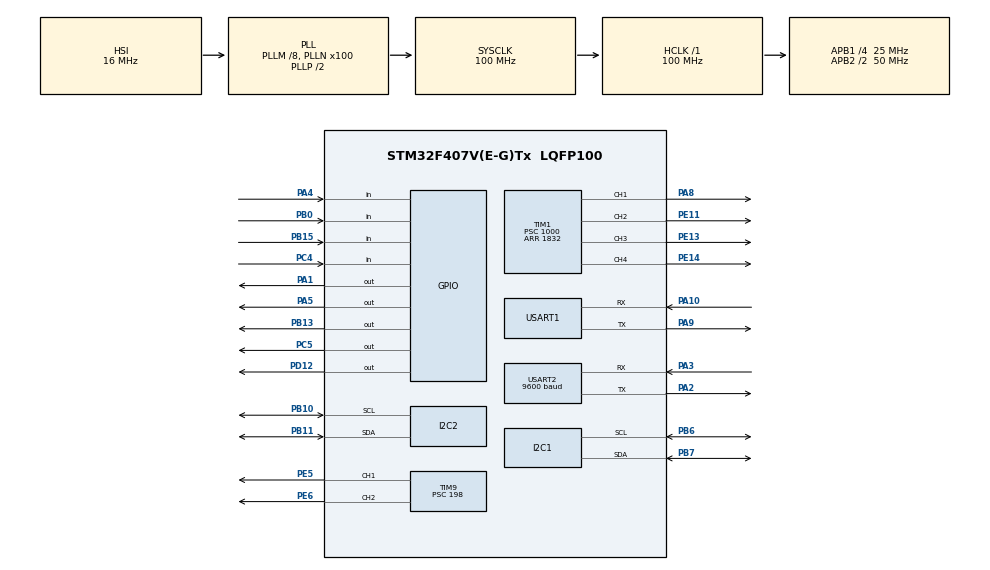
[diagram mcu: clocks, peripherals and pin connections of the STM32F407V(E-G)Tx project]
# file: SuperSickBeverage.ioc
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Mcu.Family=STM32F4
Mcu.Name=STM32F407V(E-G)Tx
Mcu.Package=LQFP100
NVIC.PriorityGroup=NVIC_PRIORITYGROUP_4
NVIC.TIM1_TRG_COM_TIM11_IRQn=true\:5\:0\:true\:false\:true\:true
NVIC.TIM1_UP_TIM10_IRQn=true\:3\:0\:true\:false\:true\:true
NVIC.USART1_IRQn=true\:1\:0\:true\:false\:true\:true
NVIC.USART2_IRQn=true\:2\:0\:true\:false\:true\:true
PA1.Signal=GPIO_Output
PA10.Mode=Asynchronous
PA10.Signal=USART1_RX
PA13.Mode=Serial_Wire
PA13.Signal=SYS_JTMS-SWDIO
PA14.Mode=Serial_Wire
PA14.Signal=SYS_JTCK-SWCLK
PA2.Mode=Asynchronous
PA2.Signal=USART2_TX
PA3.Mode=Asynchronous
PA3.Signal=USART2_RX
PA4.Signal=GPIO_Input
PA5.Signal=GPIO_Output
PA8.Signal=S_TIM1_CH1
PA9.Mode=Asynchronous
PA9.Signal=USART1_TX
PB0.GPIO_Mode=GPIO_MODE_INPUT
PB0.GPIO_PuPd=GPIO_NOPULL
PB0.Signal=GPIO_Input
PB10.Mode=I2C
PB10.Signal=I2C2_SCL
PB11.Mode=I2C
PB11.Signal=I2C2_SDA
PB13.Signal=GPIO_Output
PB15.Signal=GPIO_Input
PB6.Mode=I2C
PB6.Signal=I2C1_SCL
PB7.Mode=I2C
PB7.Signal=I2C1_SDA
PC4.Signal=GPIO_Input
PC5.Signal=GPIO_Output
PD12.Signal=GPIO_Output
PE11.Signal=S_TIM1_CH2
PE13.Signal=S_TIM1_CH3
PE14.Signal=S_TIM1_CH4
PE5.Signal=S_TIM9_CH1
PE6.Signal=S_TIM9_CH2
ProjectManager.HeapSize=0x200
ProjectManager.StackSize=0x400
ProjectManager.TargetToolchain=SW4STM32
RCC.48MHZClocksFreq_Value=28571428.57142857
RCC.AHBFreq_Value=100000000
RCC.APB1CLKDivider=RCC_HCLK_DIV4
RCC.APB1Freq_Value=25000000
RCC.APB1TimFreq_Value=50000000
RCC.APB2CLKDivider=RCC_HCLK_DIV2
RCC.APB2Freq_Value=50000000
RCC.APB2TimFreq_Value=100000000
RCC.CortexFreq_Value=100000000
RCC.HCLKFreq_Value=100000000
RCC.HSE_VALUE=8000000
RCC.HSI_VALUE=16000000
RCC.LSE_VALUE=32768
RCC.PLLM=8
RCC.PLLN=100
RCC.PLLQ=7
RCC.SYSCLKFreq_VALUE=100000000
RCC.SYSCLKSource=RCC_SYSCLKSOURCE_PLLCLK
RCC.VCOOutputFreq_Value=200000000
SH.S_TIM1_CH1.0=TIM1_CH1,PWM Generation1 CH1
SH.S_TIM1_CH2.0=TIM1_CH2,PWM Generation2 CH2
SH.S_TIM1_CH3.0=TIM1_CH3,PWM Generation3 CH3
SH.S_TIM1_CH4.0=TIM1_CH4,PWM Generation4 CH4
SH.S_TIM9_CH1.0=TIM9_CH1,PWM Generation1 CH1
SH.S_TIM9_CH2.0=TIM9_CH2,PWM Generation2 CH2
TIM1.Channel-PWM\ Generation1\ CH1=TIM_CHANNEL_1
TIM1.Channel-PWM\ Generation2\ CH2=TIM_CHANNEL_2
TIM1.Channel-PWM\ Generation3\ CH3=TIM_CHANNEL_3
TIM1.Channel-PWM\ Generation4\ CH4=TIM_CHANNEL_4
TIM1.Period=1832
TIM1.Prescaler=1000
TIM1.Pulse-PWM\ Generation1\ CH1=0
TIM10.Channel=TIM_CHANNEL_1
TIM10.Period=1
TIM10.Prescaler=5000
TIM9.Channel-PWM\ Generation1\ CH1=TIM_CHANNEL_1
TIM9.Channel-PWM\ Generation2\ CH2=TIM_CHANNEL_2
TIM9.Period=5000
TIM9.Prescaler=198
USART1.VirtualMode=VM_ASYNC
USART2.BaudRate=9600
USART2.VirtualMode=VM_ASYNC
VP_TIM10_VS_ClockSourceINT.Mode=Enable_Timer
VP_TIM10_VS_no_output1.Mode=Output Compare1 No Output
VP_TIM1_VS_ClockSourceINT.Mode=Internal
board=STM32F4DISCOVERY

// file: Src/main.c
/**
  ******************************************************************************
  * @file           : main.c
  * @brief          : Main program body
  ******************************************************************************
  ** This notice applies to any and all portions of this file
  * that are not between comment pairs USER CODE BEGIN and
  * USER CODE END. Other portions of this file, whether
  * inserted by the user or by software development tools
  * are owned by their respective copyright owners.
  *
  * COPYRIGHT(c) 2018 STMicroelectronics
  *
  * Redistribution and use in source and binary forms, with or without modification,
  * are permitted provided that the following conditions are met:
  *   1. Redistributions of source code must retain the above copyright notice,
  *      this list of conditions and the following disclaimer.
  *   2. Redistributions in binary form must reproduce the above copyright notice,
  *      this list of conditions and the following disclaimer in the documentation
  *      and/or other materials provided with the distribution.
  *   3. Neither the name of STMicroelectronics nor the names of its contributors
  *      may be used to endorse or promote products derived from this software
  *      without specific prior written permission.
  *
  * THIS SOFTWARE IS PROVIDED BY THE COPYRIGHT HOLDERS AND CONTRIBUTORS "AS IS"
  * AND ANY EXPRESS OR IMPLIED WARRANTIES, INCLUDING, BUT NOT LIMITED TO, THE
  * IMPLIED WARRANTIES OF MERCHANTABILITY AND FITNESS FOR A PARTICULAR PURPOSE ARE
  * DISCLAIMED. IN NO EVENT SHALL THE COPYRIGHT HOLDER OR CONTRIBUTORS BE LIABLE
  * FOR ANY DIRECT, INDIRECT, INCIDENTAL, SPECIAL, EXEMPLARY, OR CONSEQUENTIAL
  * DAMAGES (INCLUDING, BUT NOT LIMITED TO, PROCUREMENT OF SUBSTITUTE GOODS OR
  * SERVICES; LOSS OF USE, DATA, OR PROFITS; OR BUSINESS INTERRUPTION) HOWEVER
  * CAUSED AND ON ANY THEORY OF LIABILITY, WHETHER IN CONTRACT, STRICT LIABILITY,
  * OR TORT (INCLUDING NEGLIGENCE OR OTHERWISE) ARISING IN ANY WAY OUT OF THE USE
  * OF THIS SOFTWARE, EVEN IF ADVISED OF THE POSSIBILITY OF SUCH DAMAGE.
  *
  ******************************************************************************
  */
#include "main.h"
#include "stm32f4xx_hal.h"

/* USER CODE BEGIN Includes */
#include <stdlib.h>
#include <string.h>
#include <stdio.h>
#include <math.h>

/* Private function prototypes -----------------------------------------------*/

/* USER CODE END PFP */

/* USER CODE END Includes */

I2C_HandleTypeDef hi2c1;
I2C_HandleTypeDef hi2c2;

TIM_HandleTypeDef htim1;
TIM_HandleTypeDef htim9;
TIM_HandleTypeDef htim10;

UART_HandleTypeDef huart1;
UART_HandleTypeDef huart2;

/* USER CODE BEGIN PV */
/* Private variables ---------------------------------------------------------*/
int fadeVal = 0;
int fadeVal2 = 0;
volatile int state = 0; //0 - Listening, 1 - Order Received, 2 - Drink Loaded, 3 - Destination Reached, 4 - Drop drink, 5 - Return
int timerVal = 0;
// Manual/Autonomous Variables
volatile int mode = 0; //0 - manual, 1 - autonomous
volatile int PeriodCount = 0;
volatile int OnCount = 0;
//GPS Variables
int Rx_indx;
int GPS_Transfer_cplt = 0;
uint8_t Rx_data;
char Rx_Buffer[80];
char GPS_Data[60];
char CoordinateType[6];	//Determine if the current data received is GPGGA, GPGSA, GPRMC, or GPVTG, we only need RMC and GGA
char latDegBuff[3]; // "XX\0"
char latMinBuff[8]; // "XX.XXXX\0"
char longDegBuff[4]; // "XX\0"
char longMinBuff[8]; // "XX.XXXX\0"
char altitudeBuff[6];

double startAltitude = 0;

int j = 0;
int k = 0;

//WiFi Variables
int WiFi_Transfer_cplt = 0;
uint8_t Rx1_data;
int Rx1_indx;
char Rx1_Buffer[40];
char targetLatDeg[3];
char targetLatMin[9];
char targetLongDeg[3];
char targetLongMin[9];
int order_received = 0;
int firstTransfer = 0;

unsigned long prevTimeLED;
unsigned long prevTimeLCD;
unsigned long prevTimeTransmit;
unsigned long currTime;

struct Latitude_data
{
	int degrees;
	double decimalMin;
	char orientation;
};

struct Longitude_data
{
	int degrees;
	double decimalMin;
	char orientation;
};

struct RMC_data {
	char fixStatus;
	struct Latitude_data Latitude;
    struct Longitude_data Longitude;
    double altitude;
} RMC;

struct WiFi_data {
	struct Latitude_data Latitude;
	struct Longitude_data Longitude;
	int orderCancelled;
	char drinkOrder[15];
} WiFi;

// UART Test Variables
char* bufftr = "Hello!\n\r";

/* USER CODE END PV */

void SystemClock_Config(void);
static void MX_GPIO_Init(void);
static void MX_I2C1_Init(void);
static void MX_TIM1_Init(void);
static void MX_USART1_UART_Init(void);
static void MX_USART2_UART_Init(void);
static void MX_I2C2_Init(void);
static void MX_TIM10_Init(void);
static void MX_TIM9_Init(void);

void HAL_TIM_MspPostInit(TIM_HandleTypeDef *htim);

/* USER CODE BEGIN PFP */
/* Private function prototypes -----------------------------------------------*/

//LCD Functions
void lcd_send_cmd (char);
void lcd_send_data (char);
void lcd_print (char*);
void lcd_init(void);
void lcd_clear(void);

void lcd_firstLine(void);
void lcd_secondLine(void);
void uselessFunction(void);
/* USER CODE END PFP */

/* USER CODE BEGIN 0 */

void HAL_UART_RxCpltCallback(UART_HandleTypeDef *huart)
{
    uint8_t i;
    uint8_t j;
    uint8_t k;

    //HAL_NVIC_DisableIRQ(TIM1_UP_TIM10_IRQn);

    if (huart->Instance == USART1)
	{
		if (Rx1_indx==0) {for (i=0;i<35;i++) Rx1_Buffer[i]=0;}   //clear Rx_Buffer before receiving new data

		if (Rx1_data != 13) //if received data different from ascii 13 (enter)
		{
			Rx1_Buffer[Rx1_indx++]=Rx1_data;    //add data to Rx_Buffer
		}
		else            //if received data = 13
		{
			Rx1_indx=0;

			WiFi_Transfer_cplt=1;//transfer complete, data is ready to read
		}

		HAL_UART_Receive_IT(&huart1, &Rx1_data, 1);   //activate UART receive interrupt every time
	}

    else if (huart->Instance == USART2)  //current UART
    {
        if (Rx_indx==0) {for (i=0;i<80;i++) Rx_Buffer[i]=0;}   //clear Rx_Buffer before receiving new data

        if (Rx_data != 10 && Rx_indx < 80) //if received data different from ascii 13 (enter)
        {
            Rx_Buffer[Rx_indx++]=Rx_data;    //add data to Rx_Buffer
        }
        else            //if received data = 13
        {
            Rx_indx=0;

            GPS_Transfer_cplt=1;//transfer complete, data is ready to read
        }

        HAL_UART_Receive_IT(&huart2, &Rx_data, 1);   //activate UART receive interrupt every time

    }

   // HAL_NVIC_EnableIRQ(TIM1_UP_TIM10_IRQn);
}

void HAL_TIM_PeriodElapsedCallback(TIM_HandleTypeDef *htim)
{
	// autonomous/manual select channel interpretation
	if (htim->Instance==TIM10)
	{
		//sample Manual/Autonomous toggle signal
		if(HAL_GPIO_ReadPin(GPIOC, GPIO_PIN_4) == 1){
			OnCount++;
		}
		//check if end of a period
		if(PeriodCount++ == 183){
			//Set Mux Select Line
			if(OnCount >= 14){
 				HAL_GPIO_WritePin(GPIOC, GPIO_PIN_5, GPIO_PIN_SET);
 				mode = 1;
			}
			else{
				HAL_GPIO_WritePin(GPIOC, GPIO_PIN_5, GPIO_PIN_RESET);
				mode = 0;
			}
			//Reset Counts
			PeriodCount = 0;
			OnCount = 0;
		}
	}
}

/* USER CODE END 0 */

int main(void)
{
  /* USER CODE BEGIN 1 */
  double StartLongitude = 0;
  double StartLatitude = 0;
  double TargetLongitude = 54.793;
  double TargetLatitude = 25.573;
  double CurrentLongitude = 0;
  double CurrentLatitude = 0;
  double WEdistance = 0;
  double NSdistance = 0;
  double speed = 0;
  char temp1[16] = "aaahhhh nooo!";
  char temp2[16] = "uninitialized";
  int StatePrint = 1;
  int toggle = 0;
  int counter = 0;
  int altitudeTime = 4;

  /* USER CODE END 1 */

  /* MCU Configuration----------------------------------------------------------*/

  /* Reset of all peripherals, Initializes the Flash interface and the Systick. */
  HAL_Init();

  /* Configure the system clock */
  SystemClock_Config();

  /* Initialize all configured peripherals */
  MX_GPIO_Init();
  MX_I2C1_Init();
  MX_TIM1_Init();
  MX_USART1_UART_Init();
  MX_USART2_UART_Init();
  MX_I2C2_Init();
  MX_TIM10_Init();
  MX_TIM9_Init();
  /* USER CODE BEGIN 2 */
  lcd_init();

  /* USER CODE END 2 */

  /* Infinite loop */
  /* USER CODE BEGIN WHILE */
  HAL_GPIO_WritePin(GPIOC, GPIO_PIN_5, GPIO_PIN_RESET);

  	  //HAL_Delay(500);
  	  // END OF TEST CODE

  RMC.altitude = 0;

  //Start PWM signals
  HAL_TIM_PWM_Start(&htim1, TIM_CHANNEL_1);
  HAL_TIM_PWM_Start(&htim1, TIM_CHANNEL_2);
  HAL_TIM_PWM_Start(&htim1, TIM_CHANNEL_3);
  HAL_TIM_PWM_Start(&htim1, TIM_CHANNEL_4);
  //HAL_TIM_PWM_Start(&htim2, TIM_CHANNEL_2);
  HAL_TIM_PWM_Start(&htim9, TIM_CHANNEL_1);
  HAL_TIM_PWM_Start(&htim9, TIM_CHANNEL_2);

  HAL_UART_Receive_IT(&huart1, &Rx1_data, 1);
  HAL_UART_Receive_IT(&huart2, &Rx_data, 1);

  HAL_TIM_Base_Start_IT(&htim10);

  HAL_NVIC_DisableIRQ(USART1_IRQn);
  HAL_NVIC_DisableIRQ(USART2_IRQn);
  HAL_NVIC_DisableIRQ(TIM1_UP_TIM10_IRQn);

  //claw initializations
  __HAL_TIM_SET_COMPARE(&htim9, TIM_CHANNEL_1, 700); //PE5
  __HAL_TIM_SET_COMPARE(&htim9, TIM_CHANNEL_2, 700); //PE6
  //FC initializations
  __HAL_TIM_SET_COMPARE(&htim1, TIM_CHANNEL_4, 150); //FC channel 1 (Aileron) pin PE 14
  __HAL_TIM_SET_COMPARE(&htim1, TIM_CHANNEL_3, 150); //FC channel 2 (Elevator) pin PE 13
  __HAL_TIM_SET_COMPARE(&htim1, TIM_CHANNEL_2, 150); //FC channel 3 (Throttle) pin PA 8
  __HAL_TIM_SET_COMPARE(&htim1, TIM_CHANNEL_1, 150); //FC channel 4 (Rudder) pin PE 11
  //__HAL_TIM_SET_COMPARE(&htim2, TIM_CHANNEL_2, 150); //FC channel 6 (IOC) pin PA 1

  HAL_NVIC_EnableIRQ(USART1_IRQn);
  HAL_NVIC_EnableIRQ(USART2_IRQn);
  HAL_NVIC_EnableIRQ(TIM1_UP_TIM10_IRQn);

  while (1)
  {
	  //GPS code
	 currTime = HAL_GetTick();

	  if (currTime - prevTimeLED >= 1000) {
		  counter += 1;
		  toggle = 1;
		  prevTimeLED = currTime;
		  HAL_GPIO_TogglePin(GPIOB, GPIO_PIN_13);
	  }

	  if (GPS_Transfer_cplt) {
		  GPS_Transfer_cplt = 0;

		  for (j=0;j<6;j++) {
			CoordinateType[j] = Rx_Buffer[j];
		  }

		  j++;

		  for (k=0;k<60;k++) {
			GPS_Data[k] = Rx_Buffer[j];
			j++;
		  }

		  if (strcmp(CoordinateType, "$GPRMC") == 0)
		  {
			  RMC.fixStatus = GPS_Data[11];

			  if (RMC.fixStatus != 'A') {
					//  lcd_clear();
					//  lcd_print("NO GPS FIX");
			  }
			  else {

				  //Latitude Degrees
				  memcpy(latDegBuff, &GPS_Data[13], 2);
				  latDegBuff[2] = '\0';
				  RMC.Latitude.degrees = atoi(latDegBuff);

				  //Latitude Decimal Minutes
				  memcpy(latMinBuff, &GPS_Data[15], 7);
				  latMinBuff[7] = '\0';
				  RMC.Latitude.decimalMin = atof(latMinBuff);

				  //Latitude Orientation
				  RMC.Latitude.orientation = GPS_Data[23];

				  //Longitude Degrees
				  memcpy(longDegBuff, &GPS_Data[25], 3);
				  latDegBuff[3] = '\0';
				  RMC.Longitude.degrees = atoi(longDegBuff);

				  //Longitude Decimal Minutes
				  memcpy(latMinBuff, &GPS_Data[28], 7);
				  latMinBuff[7] = '\0';
				  RMC.Longitude.decimalMin = atof(latMinBuff);

				  //Longitude Orientation
				  RMC.Longitude.orientation = GPS_Data[36];
			  }
		  }

		  else if (strcmp(CoordinateType, "$GPGGA") == 0)
		{
			int a = 46;
			int b = 0;

			if (RMC.fixStatus != 'A') {
//				lcd_clear();
//				lcd_print("NO GPS FIX");
			}
			else {

				while(GPS_Data[a] != ',' && (b < 6)) {
					altitudeBuff[b] = GPS_Data[a];
					a++;
					b++;
				}
				altitudeBuff[b] = '\0';

				RMC.altitude = atof(altitudeBuff);
			}
		}
	  }

	  if (WiFi_Transfer_cplt && state == 0)
	  {
		  WiFi_Transfer_cplt = 0;
		  //LATITUDE
		  if (Rx1_Buffer[0] == '+')
		  {
			  WiFi.Latitude.orientation = 'N';
			  WiFi.orderCancelled = 0;
		  }
		  else if (Rx1_Buffer[0] == '-')
		  {
			  WiFi.Latitude.orientation = 'S';
			  WiFi.orderCancelled = 0;
		  }
		  else
		  {
			  WiFi.orderCancelled = 1;
		  }

		  if (WiFi.orderCancelled == 0)
		  {
			  //Latitude Degrees
			  targetLatDeg[0] = Rx1_Buffer[1];
			  targetLatDeg[1] = Rx1_Buffer[2];
			  targetLatDeg[2] = '\0';

			  WiFi.Latitude.degrees = atoi(targetLatDeg);

			  //Latitude decimalMin

			  targetLatMin[0] = '0';
			  targetLatMin[1] = '.';
			  targetLatMin[2] = Rx1_Buffer[4];
			  targetLatMin[3] = Rx1_Buffer[5];
			  targetLatMin[4] = Rx1_Buffer[6];
			  targetLatMin[5] = Rx1_Buffer[7];
			  targetLatMin[6] = Rx1_Buffer[8];
			  targetLatMin[7] = Rx1_Buffer[9];
			  targetLatMin[8] = '\0';

			  WiFi.Latitude.decimalMin = atof(targetLatMin);

			  //LONGITUDE
			  if (Rx1_Buffer[12] == '+')
			  {
				WiFi.Longitude.orientation = 'E';
			  }
			  else if (Rx1_Buffer[12] == '-')
			  {
				WiFi.Longitude.orientation = 'W';
			  }

			  //Longitude Degrees
			  targetLongDeg[0] = Rx1_Buffer[13];
			  targetLongDeg[1] = Rx1_Buffer[14];
			  targetLongDeg[2] = '\0';

			  WiFi.Longitude.degrees = atoi(targetLongDeg);

			  //Longitude decimalMin
			  targetLongMin[0] = '0';
			  targetLongMin[1] = '.';
			  targetLongMin[2] = Rx1_Buffer[16];
			  targetLongMin[3] = Rx1_Buffer[17];
			  targetLongMin[4] = Rx1_Buffer[18];
			  targetLongMin[5] = Rx1_Buffer[19];
			  targetLongMin[6] = Rx1_Buffer[20];
			  targetLongMin[7] = Rx1_Buffer[21];
			  targetLongMin[8] = '\0';

			  WiFi.Longitude.decimalMin = atof(targetLongMin);

			  //DRINK ORDER
			  int a = 23;
			  int b = 0;

			  while (Rx1_Buffer[a] != ',')
			  {
				  WiFi.drinkOrder[b] = Rx1_Buffer[a];
				  a++;
				  b++;
			  }
			  WiFi.drinkOrder[b] = '\0';
			  order_received = 1;
		  }
	  }

  	  //Drone States code
	  switch(state){
	  case 0: //idle
		  if(StatePrint == 1){
			  StatePrint = 0;
			  lcd_clear();
			  //lcd_print("Waiting for New");
			  lcd_print("ALTITUDE TEST");
			  //lcd_secondLine();
			  //lcd_print("Drink Request");
		  }
		  if (HAL_GPIO_ReadPin(GPIOB, GPIO_PIN_15) == 0  && counter >= 2){
			//close claw
//			 __HAL_TIM_SET_COMPARE(&htim9, TIM_CHANNEL_2, 920);
//			 __HAL_TIM_SET_COMPARE(&htim9, TIM_CHANNEL_1, 480);
			startAltitude = RMC.altitude;
			StatePrint = 1;
			state = 9;
			counter = 0;
		  }
//		  if (order_received == 1) {
//			  StatePrint = 1;
//			  state = 1;
//			  counter = 0;
//		  }
		  break;
	  case 1: // order received
		  if(StatePrint == 1){
		  	StatePrint = 0;
		  	lcd_clear();
		  	lcd_print("Order Received!"); //also display which drink
		  	lcd_secondLine();
		  	lcd_print(WiFi.drinkOrder);	//Drink order!!
		  	//save target location
		  	TargetLongitude = WiFi.Longitude.decimalMin * 60;
		  	TargetLatitude = WiFi.Latitude.decimalMin * 60;
		 }
		 if (HAL_GPIO_ReadPin(GPIOB, GPIO_PIN_15) == 0  && counter >= 2){
			//close claw
			 __HAL_TIM_SET_COMPARE(&htim9, TIM_CHANNEL_2, 920);
			 __HAL_TIM_SET_COMPARE(&htim9, TIM_CHANNEL_1, 480);
			StatePrint = 1;
		   	state = 2;
		   	counter = 0;
		  }
		  break;
	  case 2: //order complete
		  if(StatePrint == 1 && counter >= 1){

			sprintf(temp1, "%d", (int) TargetLongitude);
			sprintf(temp2, "%d", (int) TargetLatitude);
		  	StatePrint = 0;
		  	lcd_clear();
		  	lcd_print("Payload Loaded!"); //Payload loaded!
		  	lcd_secondLine();
		  	lcd_print("Position & Start"); //Position & Start
		  }
		  //start ascent if mode is autonomous
		  if(mode == 1){
			  counter = 0;
			  StatePrint = 1;
			  state = 3;
		  }
		  break;
	  case 3: //ascend
		  if(StatePrint == 1){
			  StatePrint = 0;
		  	  lcd_clear();
		  	  lcd_print("2 infinity &&");
		  	  lcd_secondLine();
		  	  lcd_print("Beyond!");
		  }
		  //save start location
		  StartLongitude = RMC.Longitude.decimalMin;
		  StartLatitude = RMC.Latitude.decimalMin;
		  if(counter < altitudeTime){
			  __HAL_TIM_SET_COMPARE(&htim1, TIM_CHANNEL_2, 170); //FC channel 3 (Throttle) pin PA 8
		  }
		  else if(counter < altitudeTime + 3){
			  __HAL_TIM_SET_COMPARE(&htim1, TIM_CHANNEL_2, 150); //FC channel 3 (Throttle) pin PA 8
		  }
		  else{
			  counter = 0;
			  StatePrint = 1;
			  state = 4;
		  }
		  break;
	  case 4: //go to target
		  CurrentLongitude = RMC.Longitude.decimalMin;
		  CurrentLatitude = RMC.Latitude.decimalMin;
		  //set speed
		  if(CurrentLongitude >= TargetLongitude - 0.015 && CurrentLongitude <= TargetLongitude + 0.015 && CurrentLatitude >= TargetLatitude - 0.015 && CurrentLatitude <= TargetLatitude + 0.015){
			  speed = 0.5;
		  }
		  else{
			  speed = 1;
		  }
		  //calculate directional input to target location
		  if(!(CurrentLongitude >= TargetLongitude - 0.0025 && CurrentLongitude <= TargetLongitude + 0.0025 && CurrentLatitude >= TargetLatitude - 0.0025 && CurrentLatitude <= TargetLatitude + 0.0025)){
			  WEdistance = TargetLongitude - CurrentLongitude;
			  NSdistance = TargetLatitude - CurrentLatitude;
			  if(NSdistance >= -0.0025 && NSdistance <= 0.0025 && WEdistance > 0){ //W
				  __HAL_TIM_SET_COMPARE(&htim1, TIM_CHANNEL_3, 150); //FC channel 2
				  __HAL_TIM_SET_COMPARE(&htim1, TIM_CHANNEL_4, (int)(150 - 20 * speed)); //FC channel 1
				  sprintf(temp1, "%d", 150);
				  sprintf(temp2, "%d", (int)(150 - 20 * speed));
			  }
			  else if(NSdistance >= -0.0025 && NSdistance <= 0.0025 && WEdistance < 0){ //E
				  __HAL_TIM_SET_COMPARE(&htim1, TIM_CHANNEL_3, 150); //FC channel 2
				  __HAL_TIM_SET_COMPARE(&htim1, TIM_CHANNEL_4, (int)(150 + 20 * speed)); //FC channel 1
				  sprintf(temp1, "%d", 150);
				  sprintf(temp2, "%d", (int)(150 + 20 * speed));
			  }
			  else if(NSdistance > 0 && WEdistance >= -0.0025 && WEdistance <= 0.0025){ //N
				  __HAL_TIM_SET_COMPARE(&htim1, TIM_CHANNEL_3, (int)(150 + 20 * speed)); //FC channel 2
				  __HAL_TIM_SET_COMPARE(&htim1, TIM_CHANNEL_4, 150); //FC channel 1
				  sprintf(temp1, "%d", (int) 150);
				  sprintf(temp2, "%d", 150);

			  }
			  else if(NSdistance < 0 && WEdistance >= -0.0025 && WEdistance <= 0.0025){ //S
				  __HAL_TIM_SET_COMPARE(&htim1, TIM_CHANNEL_3, (int)(150 - 20 * speed)); //FC channel 2
				  __HAL_TIM_SET_COMPARE(&htim1, TIM_CHANNEL_4, 150); //FC channel 1
				  sprintf(temp1, "%d", (int)(150 - 20 * speed));
				  sprintf(temp2, "%d", 150);
			  }
			  else if(NSdistance > 0 && WEdistance > 0){ //NW Quadrant
				  if(NSdistance > WEdistance){ //NS is larger
					  __HAL_TIM_SET_COMPARE(&htim1, TIM_CHANNEL_3, (int)(150 + 20 * speed)); //FC channel 2 set North
					  __HAL_TIM_SET_COMPARE(&htim1, TIM_CHANNEL_4, (int)(150 - 20 * speed * WEdistance / NSdistance)); //FC channel 1 set West
					  sprintf(temp1, "%d", (int)(150 + 20 * speed));
					  sprintf(temp2, "%d", (int)(150 - 20 * speed * WEdistance / NSdistance));
				  }
				  else{ //WE is larger
					  __HAL_TIM_SET_COMPARE(&htim1, TIM_CHANNEL_3, (int)(150 + 20 * speed * NSdistance / WEdistance)); //FC channel 1 set North
					  __HAL_TIM_SET_COMPARE(&htim1, TIM_CHANNEL_4, (int)(150 - 20 * speed)); //FC channel 1 set West
					  sprintf(temp1, "%d", (int)(150 + 20 * speed * NSdistance / WEdistance));
					  sprintf(temp2, "%d", (int)(150 - 20 * speed));
				  }
		      }
			  else if(NSdistance > 0 && WEdistance < 0){ //NE Quadrant
				  if(NSdistance > -WEdistance){ //NS is larger
					  __HAL_TIM_SET_COMPARE(&htim1, TIM_CHANNEL_3, (int)(150 + 20 * speed)); //FC channel 2 set North
					  __HAL_TIM_SET_COMPARE(&htim1, TIM_CHANNEL_4, (int)(150 + 20 * speed * -WEdistance / NSdistance)); //FC channel 1 set East
					  sprintf(temp1, "%d", (int)(150 + 20 * speed));
					  sprintf(temp2, "%d", (int)(150 + 20 * speed * -WEdistance / NSdistance));
				  }
				  else{ //WE is larger
					  __HAL_TIM_SET_COMPARE(&htim1, TIM_CHANNEL_3, (int)(150 + 20 * speed * NSdistance / -WEdistance)); //FC channel 1 set North
					  __HAL_TIM_SET_COMPARE(&htim1, TIM_CHANNEL_4, (int)(150 + 20 * speed)); //FC channel 1 set East
					  sprintf(temp1, "%d", (int)(150 + 20 * speed * NSdistance / -WEdistance));
					  sprintf(temp2, "%d", (int)(150 + 20 * speed));
				  }
		      }
			  else if(NSdistance < 0 && WEdistance > 0){ //SW Quadrant
				  if(-NSdistance > WEdistance){ //NS is larger
					  __HAL_TIM_SET_COMPARE(&htim1, TIM_CHANNEL_3, (int)(150 - 20 * speed)); //FC channel 2 set South
					  __HAL_TIM_SET_COMPARE(&htim1, TIM_CHANNEL_4, (int)(150 - 20 * speed * WEdistance / -NSdistance)); //FC channel 1 set West
					  sprintf(temp1, "%d", (int)(150 - 20 * speed));
					  sprintf(temp2, "%d", (int)(150 - 20 * speed * WEdistance / -NSdistance));
				  }
				  else{ //WE is larger
					  __HAL_TIM_SET_COMPARE(&htim1, TIM_CHANNEL_3, (int)(150 - 20 * speed * -NSdistance / WEdistance)); //FC channel 1 set South
					  __HAL_TIM_SET_COMPARE(&htim1, TIM_CHANNEL_4, (int)(150 - 20 * speed)); //FC channel 1 set West
					  sprintf(temp1, "%d", (int)(150 - 20 * speed * -NSdistance / WEdistance));
					  sprintf(temp2, "%d", (int)(150 - 20 * speed));
				  }
		      }
			  else if(NSdistance < 0 && WEdistance < 0){ //SE Quadrant
				  if(-NSdistance > -WEdistance){ //NS is larger
					  __HAL_TIM_SET_COMPARE(&htim1, TIM_CHANNEL_3, (int)(150 - 20 * speed)); //FC channel 2 set South
					  __HAL_TIM_SET_COMPARE(&htim1, TIM_CHANNEL_4, (int)(150 + 20 * speed * -WEdistance / -NSdistance)); //FC channel 1 set East
					  sprintf(temp1, "%d", (int)(150 - 20 * speed));
					  sprintf(temp2, "%d", (int)(150 + 20 * speed * -WEdistance / -NSdistance));
				  }
				  else{ //WE is larger
					  __HAL_TIM_SET_COMPARE(&htim1, TIM_CHANNEL_3, (int)(150 - 20 * speed * -NSdistance / -WEdistance)); //FC channel 1 set South
					  __HAL_TIM_SET_COMPARE(&htim1, TIM_CHANNEL_4, (int)(150 + 20 * speed)); //FC channel 1 set East
					  sprintf(temp1, "%d", (int)(150 - 20 * speed * -NSdistance / -WEdistance));
					  sprintf(temp2, "%d", (int)(150 + 20 * speed));
				  }
		      }
		  }
		  //at target location
		  else{
			  counter = 0;
			  StatePrint = 1;
			  state = 5;
		  }
		  if(toggle == 1){
			  toggle = 0;
		  	  lcd_clear();
		  	  lcd_print(temp1);
		  	  lcd_secondLine();
		  	  lcd_print(temp2);
		  }
		  break;
	  case 5: //release
		  if(StatePrint == 1){
			  StatePrint = 0;
			  lcd_clear();
			  lcd_print("releasing");
			  lcd_secondLine();
			  lcd_print("payload!");
		  }

		  //hover signals
		  __HAL_TIM_SET_COMPARE(&htim1, TIM_CHANNEL_4, 150); //FC channel 1 (Aileron)
		  __HAL_TIM_SET_COMPARE(&htim1, TIM_CHANNEL_3, 150); //FC channel 2 (Elevator)
		  __HAL_TIM_SET_COMPARE(&htim1, TIM_CHANNEL_2, 150); //FC channel 2 (Throttle)
		  //claw release
			 __HAL_TIM_SET_COMPARE(&htim9, TIM_CHANNEL_2, 600);
			 __HAL_TIM_SET_COMPARE(&htim9, TIM_CHANNEL_1, 420);
		  if(counter >= 7){
			  TargetLongitude = StartLongitude;
			  TargetLatitude = StartLatitude;
			  counter = 0;
			  StatePrint = 1;
			  state = 6;
		  }
		  break;
	  case 6: //return to start location
		  CurrentLongitude = RMC.Longitude.decimalMin;
		  CurrentLatitude = RMC.Latitude.decimalMin;
		  //set speed
		  if(CurrentLongitude >= TargetLongitude - 0.015 && CurrentLongitude <= TargetLongitude + 0.015 && CurrentLatitude >= TargetLatitude - 0.015 && CurrentLatitude <= TargetLatitude + 0.015){
			  speed = 0.5;
		  }
		  else{
			  speed = 1;
		  }
		  //calculate directional input to target location
		  if(!(CurrentLongitude >= TargetLongitude - 0.0025 && CurrentLongitude <= TargetLongitude + 0.0025 && CurrentLatitude >= TargetLatitude - 0.0025 && CurrentLatitude <= TargetLatitude + 0.0025)){
			  WEdistance = TargetLongitude - CurrentLongitude;
			  NSdistance = TargetLatitude - CurrentLatitude;
			  if(NSdistance >= -0.0025 && NSdistance <= 0.0025 && WEdistance > 0){ //W
				  __HAL_TIM_SET_COMPARE(&htim1, TIM_CHANNEL_3, 150); //FC channel 2
				  __HAL_TIM_SET_COMPARE(&htim1, TIM_CHANNEL_4, (int)(150 - 20 * speed)); //FC channel 1
				  sprintf(temp1, "%d", 150);
				  sprintf(temp2, "%d", (int)(150 - 20 * speed));
			  }
			  else if(NSdistance >= -0.0025 && NSdistance <= 0.0025 && WEdistance < 0){ //E
				  __HAL_TIM_SET_COMPARE(&htim1, TIM_CHANNEL_3, 150); //FC channel 2
				  __HAL_TIM_SET_COMPARE(&htim1, TIM_CHANNEL_4, (int)(150 + 20 * speed)); //FC channel 1
				  sprintf(temp1, "%d", 150);
				  sprintf(temp2, "%d", (int)(150 + 20 * speed));
			  }
			  else if(NSdistance > 0 && WEdistance >= -0.0025 && WEdistance <= 0.0025){ //N
				  __HAL_TIM_SET_COMPARE(&htim1, TIM_CHANNEL_3, (int)(150 + 20 * speed)); //FC channel 2
				  __HAL_TIM_SET_COMPARE(&htim1, TIM_CHANNEL_4, 150); //FC channel 1
				  sprintf(temp1, "%d", (int) 150);
				  sprintf(temp2, "%d", 150);

			  }
			  else if(NSdistance < 0 && WEdistance >= -0.0025 && WEdistance <= 0.0025){ //S
				  __HAL_TIM_SET_COMPARE(&htim1, TIM_CHANNEL_3, (int)(150 - 20 * speed)); //FC channel 2
				  __HAL_TIM_SET_COMPARE(&htim1, TIM_CHANNEL_4, 150); //FC channel 1
				  sprintf(temp1, "%d", (int)(150 - 20 * speed));
				  sprintf(temp2, "%d", 150);
			  }
			  else if(NSdistance > 0 && WEdistance > 0){ //NW Quadrant
				  if(NSdistance > WEdistance){ //NS is larger
					  __HAL_TIM_SET_COMPARE(&htim1, TIM_CHANNEL_3, (int)(150 + 20 * speed)); //FC channel 2 set North
					  __HAL_TIM_SET_COMPARE(&htim1, TIM_CHANNEL_4, (int)(150 - 20 * speed * WEdistance / NSdistance)); //FC channel 1 set West
					  sprintf(temp1, "%d", (int)(150 + 20 * speed));
					  sprintf(temp2, "%d", (int)(150 - 20 * speed * WEdistance / NSdistance));
				  }
				  else{ //WE is larger
					  __HAL_TIM_SET_COMPARE(&htim1, TIM_CHANNEL_3, (int)(150 + 20 * speed * NSdistance / WEdistance)); //FC channel 1 set North
					  __HAL_TIM_SET_COMPARE(&htim1, TIM_CHANNEL_4, (int)(150 - 20 * speed)); //FC channel 1 set West
					  sprintf(temp1, "%d", (int)(150 + 20 * speed * NSdistance / WEdistance));
					  sprintf(temp2, "%d", (int)(150 - 20 * speed));
				  }
		      }
			  else if(NSdistance > 0 && WEdistance < 0){ //NE Quadrant
				  if(NSdistance > -WEdistance){ //NS is larger
					  __HAL_TIM_SET_COMPARE(&htim1, TIM_CHANNEL_3, (int)(150 + 20 * speed)); //FC channel 2 set North
					  __HAL_TIM_SET_COMPARE(&htim1, TIM_CHANNEL_4, (int)(150 + 20 * speed * -WEdistance / NSdistance)); //FC channel 1 set East
					  sprintf(temp1, "%d", (int)(150 + 20 * speed));
					  sprintf(temp2, "%d", (int)(150 + 20 * speed * -WEdistance / NSdistance));
				  }
				  else{ //WE is larger
					  __HAL_TIM_SET_COMPARE(&htim1, TIM_CHANNEL_3, (int)(150 + 20 * speed * NSdistance / -WEdistance)); //FC channel 1 set North
					  __HAL_TIM_SET_COMPARE(&htim1, TIM_CHANNEL_4, (int)(150 + 20 * speed)); //FC channel 1 set East
					  sprintf(temp1, "%d", (int)(150 + 20 * speed * NSdistance / -WEdistance));
					  sprintf(temp2, "%d", (int)(150 + 20 * speed));
				  }
		      }
			  else if(NSdistance < 0 && WEdistance > 0){ //SW Quadrant
				  if(-NSdistance > WEdistance){ //NS is larger
					  __HAL_TIM_SET_COMPARE(&htim1, TIM_CHANNEL_3, (int)(150 - 20 * speed)); //FC channel 2 set South
					  __HAL_TIM_SET_COMPARE(&htim1, TIM_CHANNEL_4, (int)(150 - 20 * speed * WEdistance / -NSdistance)); //FC channel 1 set West
					  sprintf(temp1, "%d", (int)(150 - 20 * speed));
					  sprintf(temp2, "%d", (int)(150 - 20 * speed * WEdistance / -NSdistance));
				  }
				  else{ //WE is larger
					  __HAL_TIM_SET_COMPARE(&htim1, TIM_CHANNEL_3, (int)(150 - 20 * speed * -NSdistance / WEdistance)); //FC channel 1 set South
					  __HAL_TIM_SET_COMPARE(&htim1, TIM_CHANNEL_4, (int)(150 - 20 * speed)); //FC channel 1 set West
					  sprintf(temp1, "%d", (int)(150 - 20 * speed * -NSdistance / WEdistance));
					  sprintf(temp2, "%d", (int)(150 - 20 * speed));
				  }
		      }
			  else if(NSdistance < 0 && WEdistance < 0){ //SE Quadrant
				  if(-NSdistance > -WEdistance){ //NS is larger
					  __HAL_TIM_SET_COMPARE(&htim1, TIM_CHANNEL_3, (int)(150 - 20 * speed)); //FC channel 2 set South
					  __HAL_TIM_SET_COMPARE(&htim1, TIM_CHANNEL_4, (int)(150 + 20 * speed * -WEdistance / -NSdistance)); //FC channel 1 set East
					  sprintf(temp1, "%d", (int)(150 - 20 * speed));
					  sprintf(temp2, "%d", (int)(150 + 20 * speed * -WEdistance / -NSdistance));
				  }
				  else{ //WE is larger
					  __HAL_TIM_SET_COMPARE(&htim1, TIM_CHANNEL_3, (int)(150 - 20 * speed * -NSdistance / -WEdistance)); //FC channel 1 set South
					  __HAL_TIM_SET_COMPARE(&htim1, TIM_CHANNEL_4, (int)(150 + 20 * speed)); //FC channel 1 set East
					  sprintf(temp1, "%d", (int)(150 - 20 * speed * -NSdistance / -WEdistance));
					  sprintf(temp2, "%d", (int)(150 + 20 * speed));
				  }
		      }
		  }
		  //at target location
		  else{
			  counter = 0;
			  StatePrint = 1;
			  state = 7;
		  }
		  if(toggle == 1){
			  toggle = 0;
		  	  lcd_clear();
		  	  lcd_print(temp1);
		  	  lcd_secondLine();
		  	  lcd_print(temp2);
		  }
		  break;
	  case 7: //descend
		  if(StatePrint == 1){
			  StatePrint = 0;
			  lcd_clear();
			  lcd_print("descending");
			  lcd_secondLine();
			  lcd_print("state");
		   }
		  //hover signals
		  __HAL_TIM_SET_COMPARE(&htim1, TIM_CHANNEL_4, 150); //FC channel 1 (Aileron)
		  __HAL_TIM_SET_COMPARE(&htim1, TIM_CHANNEL_3, 150); //FC channel 2 (Elevator)
		  __HAL_TIM_SET_COMPARE(&htim1, TIM_CHANNEL_2, 150); //FC channel 2 (Throttle)
		   if(counter < 3){
			   __HAL_TIM_SET_COMPARE(&htim1, TIM_CHANNEL_2, 150); //hover
		   }
		   else if(counter < altitudeTime + 2){
			   __HAL_TIM_SET_COMPARE(&htim1, TIM_CHANNEL_2, 135); //safe descent speed
		   }
		   else {
			   StatePrint = 1;
			   state = 8;
		   }
		  break;
	  case 8: //power down state
		  //power down motors
		  __HAL_TIM_SET_COMPARE(&htim1, TIM_CHANNEL_2, 90);
		  //hover signals
		  __HAL_TIM_SET_COMPARE(&htim1, TIM_CHANNEL_4, 150); //FC channel 1 (Aileron) pin PE 14
		  __HAL_TIM_SET_COMPARE(&htim1, TIM_CHANNEL_3, 150); //FC channel 2 (Elevator) pin PE 13
		  if(StatePrint == 1){
			  StatePrint = 0;
		  	  lcd_clear();
		  	  lcd_print("Delivery");
		  	  lcd_secondLine();
		  	  lcd_print("Complete!");
		  }
		  break;
	  case 9:
		  if (abs(RMC.altitude - startAltitude) > 5)
		  {
			  if (StatePrint == 1)
			  {
				  StatePrint = 0;
				  sprintf(temp2, "%d", (int)(abs(RMC.altitude - startAltitude)));
				  lcd_clear();
				  lcd_print("Max height received");
				  lcd_secondLine();
				  lcd_print("Height: ");
				  lcd_print(temp2);
			  }
		  }
		  break;
	  }

  /* USER CODE END WHILE */

  }

}

void SystemClock_Config(void)
{

  RCC_OscInitTypeDef RCC_OscInitStruct;
  RCC_ClkInitTypeDef RCC_ClkInitStruct;

    /**Configure the main internal regulator output voltage
    */
  __HAL_RCC_PWR_CLK_ENABLE();

  __HAL_PWR_VOLTAGESCALING_CONFIG(PWR_REGULATOR_VOLTAGE_SCALE1);

    /**Initializes the CPU, AHB and APB busses clocks
    */
  RCC_OscInitStruct.OscillatorType = RCC_OSCILLATORTYPE_HSI;
  RCC_OscInitStruct.HSIState = RCC_HSI_ON;
  RCC_OscInitStruct.HSICalibrationValue = 16;
  RCC_OscInitStruct.PLL.PLLState = RCC_PLL_ON;
  RCC_OscInitStruct.PLL.PLLSource = RCC_PLLSOURCE_HSI;
  RCC_OscInitStruct.PLL.PLLM = 8;
  RCC_OscInitStruct.PLL.PLLN = 100;
  RCC_OscInitStruct.PLL.PLLP = RCC_PLLP_DIV2;
  RCC_OscInitStruct.PLL.PLLQ = 7;
  if (HAL_RCC_OscConfig(&RCC_OscInitStruct) != HAL_OK)
  {
    _Error_Handler(__FILE__, __LINE__);
  }

    /**Initializes the CPU, AHB and APB busses clocks
    */
  RCC_ClkInitStruct.ClockType = RCC_CLOCKTYPE_HCLK|RCC_CLOCKTYPE_SYSCLK
                              |RCC_CLOCKTYPE_PCLK1|RCC_CLOCKTYPE_PCLK2;
  RCC_ClkInitStruct.SYSCLKSource = RCC_SYSCLKSOURCE_PLLCLK;
  RCC_ClkInitStruct.AHBCLKDivider = RCC_SYSCLK_DIV1;
  RCC_ClkInitStruct.APB1CLKDivider = RCC_HCLK_DIV4;
  RCC_ClkInitStruct.APB2CLKDivider = RCC_HCLK_DIV2;

  if (HAL_RCC_ClockConfig(&RCC_ClkInitStruct, FLASH_LATENCY_3) != HAL_OK)
  {
    _Error_Handler(__FILE__, __LINE__);
  }

    /**Configure the Systick interrupt time
    */
  HAL_SYSTICK_Config(HAL_RCC_GetHCLKFreq()/1000);

    /**Configure the Systick
    */
  HAL_SYSTICK_CLKSourceConfig(SYSTICK_CLKSOURCE_HCLK);

  /* SysTick_IRQn interrupt configuration */
  HAL_NVIC_SetPriority(SysTick_IRQn, 0, 0);
}

/* I2C1 init function */
static void MX_I2C1_Init(void)
{

  hi2c1.Instance = I2C1;
  hi2c1.Init.ClockSpeed = 100000;
  hi2c1.Init.DutyCycle = I2C_DUTYCYCLE_2;
  hi2c1.Init.OwnAddress1 = 0;
  hi2c1.Init.AddressingMode = I2C_ADDRESSINGMODE_7BIT;
  hi2c1.Init.DualAddressMode = I2C_DUALADDRESS_DISABLE;
  hi2c1.Init.OwnAddress2 = 0;
  hi2c1.Init.GeneralCallMode = I2C_GENERALCALL_DISABLE;
  hi2c1.Init.NoStretchMode = I2C_NOSTRETCH_DISABLE;
  if (HAL_I2C_Init(&hi2c1) != HAL_OK)
  {
    _Error_Handler(__FILE__, __LINE__);
  }

}

/* I2C2 init function */
static void MX_I2C2_Init(void)
{

  hi2c2.Instance = I2C2;
  hi2c2.Init.ClockSpeed = 100000;
  hi2c2.Init.DutyCycle = I2C_DUTYCYCLE_2;
  hi2c2.Init.OwnAddress1 = 0;
  hi2c2.Init.AddressingMode = I2C_ADDRESSINGMODE_7BIT;
  hi2c2.Init.DualAddressMode = I2C_DUALADDRESS_DISABLE;
  hi2c2.Init.OwnAddress2 = 0;
  hi2c2.Init.GeneralCallMode = I2C_GENERALCALL_DISABLE;
  hi2c2.Init.NoStretchMode = I2C_NOSTRETCH_DISABLE;
  if (HAL_I2C_Init(&hi2c2) != HAL_OK)
  {
    _Error_Handler(__FILE__, __LINE__);
  }

}

/* TIM1 init function */
static void MX_TIM1_Init(void)
{

  TIM_ClockConfigTypeDef sClockSourceConfig;
  TIM_MasterConfigTypeDef sMasterConfig;
  TIM_OC_InitTypeDef sConfigOC;
  TIM_BreakDeadTimeConfigTypeDef sBreakDeadTimeConfig;

  htim1.Instance = TIM1;
  htim1.Init.Prescaler = 1000;
  htim1.Init.CounterMode = TIM_COUNTERMODE_UP;
  htim1.Init.Period = 1832;
  htim1.Init.ClockDivision = TIM_CLOCKDIVISION_DIV1;
  htim1.Init.RepetitionCounter = 0;
  if (HAL_TIM_Base_Init(&htim1) != HAL_OK)
  {
    _Error_Handler(__FILE__, __LINE__);
  }

  sClockSourceConfig.ClockSource = TIM_CLOCKSOURCE_INTERNAL;
  if (HAL_TIM_ConfigClockSource(&htim1, &sClockSourceConfig) != HAL_OK)
  {
    _Error_Handler(__FILE__, __LINE__);
  }

  if (HAL_TIM_PWM_Init(&htim1) != HAL_OK)
  {
    _Error_Handler(__FILE__, __LINE__);
  }

  sMasterConfig.MasterOutputTrigger = TIM_TRGO_RESET;
  sMasterConfig.MasterSlaveMode = TIM_MASTERSLAVEMODE_DISABLE;
  if (HAL_TIMEx_MasterConfigSynchronization(&htim1, &sMasterConfig) != HAL_OK)
  {
    _Error_Handler(__FILE__, __LINE__);
  }

  sConfigOC.OCMode = TIM_OCMODE_PWM1;
  sConfigOC.Pulse = 0;
  sConfigOC.OCPolarity = TIM_OCPOLARITY_HIGH;
  sConfigOC.OCNPolarity = TIM_OCNPOLARITY_HIGH;
  sConfigOC.OCFastMode = TIM_OCFAST_DISABLE;
  sConfigOC.OCIdleState = TIM_OCIDLESTATE_RESET;
  sConfigOC.OCNIdleState = TIM_OCNIDLESTATE_RESET;
  if (HAL_TIM_PWM_ConfigChannel(&htim1, &sConfigOC, TIM_CHANNEL_1) != HAL_OK)
  {
    _Error_Handler(__FILE__, __LINE__);
  }

  if (HAL_TIM_PWM_ConfigChannel(&htim1, &sConfigOC, TIM_CHANNEL_2) != HAL_OK)
  {
    _Error_Handler(__FILE__, __LINE__);
  }

  if (HAL_TIM_PWM_ConfigChannel(&htim1, &sConfigOC, TIM_CHANNEL_3) != HAL_OK)
  {
    _Error_Handler(__FILE__, __LINE__);
  }

  if (HAL_TIM_PWM_ConfigChannel(&htim1, &sConfigOC, TIM_CHANNEL_4) != HAL_OK)
  {
    _Error_Handler(__FILE__, __LINE__);
  }

  sBreakDeadTimeConfig.OffStateRunMode = TIM_OSSR_DISABLE;
  sBreakDeadTimeConfig.OffStateIDLEMode = TIM_OSSI_DISABLE;
  sBreakDeadTimeConfig.LockLevel = TIM_LOCKLEVEL_OFF;
  sBreakDeadTimeConfig.DeadTime = 0;
  sBreakDeadTimeConfig.BreakState = TIM_BREAK_DISABLE;
  sBreakDeadTimeConfig.BreakPolarity = TIM_BREAKPOLARITY_HIGH;
  sBreakDeadTimeConfig.AutomaticOutput = TIM_AUTOMATICOUTPUT_DISABLE;
  if (HAL_TIMEx_ConfigBreakDeadTime(&htim1, &sBreakDeadTimeConfig) != HAL_OK)
  {
    _Error_Handler(__FILE__, __LINE__);
  }

  HAL_TIM_MspPostInit(&htim1);

}

/* TIM9 init function */
static void MX_TIM9_Init(void)
{

  TIM_OC_InitTypeDef sConfigOC;

  htim9.Instance = TIM9;
  htim9.Init.Prescaler = 198;
  htim9.Init.CounterMode = TIM_COUNTERMODE_UP;
  htim9.Init.Period = 5000;
  htim9.Init.ClockDivision = TIM_CLOCKDIVISION_DIV1;
  if (HAL_TIM_PWM_Init(&htim9) != HAL_OK)
  {
    _Error_Handler(__FILE__, __LINE__);
  }

  sConfigOC.OCMode = TIM_OCMODE_PWM1;
  sConfigOC.Pulse = 0;
  sConfigOC.OCPolarity = TIM_OCPOLARITY_HIGH;
  sConfigOC.OCFastMode = TIM_OCFAST_DISABLE;
  if (HAL_TIM_PWM_ConfigChannel(&htim9, &sConfigOC, TIM_CHANNEL_1) != HAL_OK)
  {
    _Error_Handler(__FILE__, __LINE__);
  }

  if (HAL_TIM_PWM_ConfigChannel(&htim9, &sConfigOC, TIM_CHANNEL_2) != HAL_OK)
  {
    _Error_Handler(__FILE__, __LINE__);
  }

  HAL_TIM_MspPostInit(&htim9);

}

/* TIM10 init function */
static void MX_TIM10_Init(void)
{

  TIM_OC_InitTypeDef sConfigOC;

  htim10.Instance = TIM10;
  htim10.Init.Prescaler = 5000;
  htim10.Init.CounterMode = TIM_COUNTERMODE_UP;
  htim10.Init.Period = 1;
  htim10.Init.ClockDivision = TIM_CLOCKDIVISION_DIV1;
  if (HAL_TIM_Base_Init(&htim10) != HAL_OK)
  {
    _Error_Handler(__FILE__, __LINE__);
  }

  if (HAL_TIM_OC_Init(&htim10) != HAL_OK)
  {
    _Error_Handler(__FILE__, __LINE__);
  }

  sConfigOC.OCMode = TIM_OCMODE_TIMING;
  sConfigOC.Pulse = 0;
  sConfigOC.OCPolarity = TIM_OCPOLARITY_HIGH;
  sConfigOC.OCFastMode = TIM_OCFAST_DISABLE;
  if (HAL_TIM_OC_ConfigChannel(&htim10, &sConfigOC, TIM_CHANNEL_1) != HAL_OK)
  {
    _Error_Handler(__FILE__, __LINE__);
  }

}

/* USART1 init function */
static void MX_USART1_UART_Init(void)
{

  huart1.Instance = USART1;
  huart1.Init.BaudRate = 115200;
  huart1.Init.WordLength = UART_WORDLENGTH_8B;
  huart1.Init.StopBits = UART_STOPBITS_1;
  huart1.Init.Parity = UART_PARITY_NONE;
  huart1.Init.Mode = UART_MODE_TX_RX;
  huart1.Init.HwFlowCtl = UART_HWCONTROL_NONE;
  huart1.Init.OverSampling = UART_OVERSAMPLING_16;
  if (HAL_UART_Init(&huart1) != HAL_OK)
  {
    _Error_Handler(__FILE__, __LINE__);
  }

}

/* USART2 init function */
static void MX_USART2_UART_Init(void)
{

  huart2.Instance = USART2;
  huart2.Init.BaudRate = 9600;
  huart2.Init.WordLength = UART_WORDLENGTH_8B;
  huart2.Init.StopBits = UART_STOPBITS_1;
  huart2.Init.Parity = UART_PARITY_NONE;
  huart2.Init.Mode = UART_MODE_TX_RX;
  huart2.Init.HwFlowCtl = UART_HWCONTROL_NONE;
  huart2.Init.OverSampling = UART_OVERSAMPLING_16;
  if (HAL_UART_Init(&huart2) != HAL_OK)
  {
    _Error_Handler(__FILE__, __LINE__);
  }

}

/** Configure pins as
        * Analog
        * Input
        * Output
        * EVENT_OUT
        * EXTI
*/
static void MX_GPIO_Init(void)
{

  GPIO_InitTypeDef GPIO_InitStruct;

  /* GPIO Ports Clock Enable */
  __HAL_RCC_GPIOE_CLK_ENABLE();
  __HAL_RCC_GPIOA_CLK_ENABLE();
  __HAL_RCC_GPIOC_CLK_ENABLE();
  __HAL_RCC_GPIOB_CLK_ENABLE();
  __HAL_RCC_GPIOD_CLK_ENABLE();

  /*Configure GPIO pin Output Level */
  HAL_GPIO_WritePin(GPIOA, GPIO_PIN_1|GPIO_PIN_5, GPIO_PIN_RESET);

  /*Configure GPIO pin Output Level */
  HAL_GPIO_WritePin(GPIOC, GPIO_PIN_5, GPIO_PIN_RESET);

  /*Configure GPIO pin Output Level */
  HAL_GPIO_WritePin(GPIOB, GPIO_PIN_13, GPIO_PIN_RESET);

  /*Configure GPIO pin Output Level */
  HAL_GPIO_WritePin(GPIOD, GPIO_PIN_12, GPIO_PIN_RESET);

  /*Configure GPIO pins : PA1 PA5 */
  GPIO_InitStruct.Pin = GPIO_PIN_1|GPIO_PIN_5;
  GPIO_InitStruct.Mode = GPIO_MODE_OUTPUT_PP;
  GPIO_InitStruct.Pull = GPIO_NOPULL;
  GPIO_InitStruct.Speed = GPIO_SPEED_FREQ_LOW;
  HAL_GPIO_Init(GPIOA, &GPIO_InitStruct);

  /*Configure GPIO pin : PA4 */
  GPIO_InitStruct.Pin = GPIO_PIN_4;
  GPIO_InitStruct.Mode = GPIO_MODE_INPUT;
  GPIO_InitStruct.Pull = GPIO_NOPULL;
  HAL_GPIO_Init(GPIOA, &GPIO_InitStruct);

  /*Configure GPIO pin : PC4 */
  GPIO_InitStruct.Pin = GPIO_PIN_4;
  GPIO_InitStruct.Mode = GPIO_MODE_INPUT;
  GPIO_InitStruct.Pull = GPIO_NOPULL;
  HAL_GPIO_Init(GPIOC, &GPIO_InitStruct);

  /*Configure GPIO pin : PC5 */
  GPIO_InitStruct.Pin = GPIO_PIN_5;
  GPIO_InitStruct.Mode = GPIO_MODE_OUTPUT_PP;
  GPIO_InitStruct.Pull = GPIO_NOPULL;
  GPIO_InitStruct.Speed = GPIO_SPEED_FREQ_LOW;
  HAL_GPIO_Init(GPIOC, &GPIO_InitStruct);

  /*Configure GPIO pins : PB0 PB15 */
  GPIO_InitStruct.Pin = GPIO_PIN_0|GPIO_PIN_15;
  GPIO_InitStruct.Mode = GPIO_MODE_INPUT;
  GPIO_InitStruct.Pull = GPIO_NOPULL;
  HAL_GPIO_Init(GPIOB, &GPIO_InitStruct);

  /*Configure GPIO pin : PB13 */
  GPIO_InitStruct.Pin = GPIO_PIN_13;
  GPIO_InitStruct.Mode = GPIO_MODE_OUTPUT_PP;
  GPIO_InitStruct.Pull = GPIO_NOPULL;
  GPIO_InitStruct.Speed = GPIO_SPEED_FREQ_LOW;
  HAL_GPIO_Init(GPIOB, &GPIO_InitStruct);

  /*Configure GPIO pin : PD12 */
  GPIO_InitStruct.Pin = GPIO_PIN_12;
  GPIO_InitStruct.Mode = GPIO_MODE_OUTPUT_PP;
  GPIO_InitStruct.Pull = GPIO_NOPULL;
  GPIO_InitStruct.Speed = GPIO_SPEED_FREQ_LOW;
  HAL_GPIO_Init(GPIOD, &GPIO_InitStruct);

}

/* USER CODE BEGIN 4 */

//-------------------USER FUNCTIONS--------------------//

void lcd_send_cmd (char cmd)
{
  char data_u, data_l;
	uint8_t data_t[4];
	data_u = cmd&0xf0;
	data_l = (cmd<<4)&0xf0;
	data_t[0] = data_u|0x04|0x08;  	//en=1, rs=0
	data_t[1] = data_u|0x08;  		//en=0, rs=0
	data_t[2] = data_l|0x04|0x08;  	//en=1, rs=0
	data_t[3] = data_l|0x08;  		//en=0, rs=0
	HAL_I2C_Master_Transmit (&hi2c1, 0x27<<1,(uint8_t *) data_t, 4, 100);
}

void lcd_send_data (char data)
{
	char data_u, data_l;
	uint8_t data_t[4];
	data_u = data&0xf0;
	data_l = (data<<4)&0xf0;
	data_t[0] = data_u|0x05|0x08;  //en=1, rs=0
	data_t[1] = data_u|0x01|0x08;  //en=0, rs=0
	data_t[2] = data_l|0x05|0x08;  //en=1, rs=0
	data_t[3] = data_l|0x01|0x08;  //en=0, rs=0
	HAL_I2C_Master_Transmit (&hi2c1, 0x27<<1,(uint8_t *) data_t, 4, 100);
}

void lcd_init (void)
{
	HAL_Delay(100);
	lcd_send_cmd (0x02);
	HAL_Delay(100);
	lcd_send_cmd (0x28);
	HAL_Delay(1);
	lcd_send_cmd (0x0C);
	HAL_Delay(1);
	lcd_send_cmd (0x80);
	HAL_Delay(1);
	lcd_send_cmd (0x01);
	HAL_Delay(1);
}

void lcd_print (char *str)
{
	while (*str) lcd_send_data (*str++);
}

void lcd_clear (void)
{
	lcd_send_cmd(0x01);
	HAL_Delay(1);
}
void lcd_firstLine (void)
{
	lcd_send_cmd(0x80);
	HAL_Delay(1);
}

void lcd_secondLine (void)
{
	lcd_send_cmd(0xC0);
	HAL_Delay(1);
}

void uselessFunction (void)
{
	int x = 2;

	x++;
}

/* USER CODE END 4 */

void _Error_Handler(char *file, int line)
{
  while(1)
  {
  }
}

/************************ (C) COPYRIGHT STMicroelectronics *****END OF FILE****/
